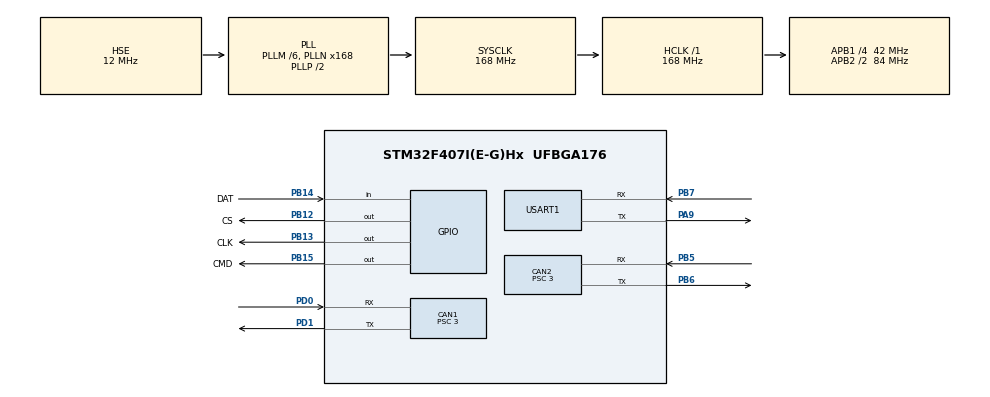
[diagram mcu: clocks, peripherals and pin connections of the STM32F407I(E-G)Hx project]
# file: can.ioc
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CAN1.BS1=CAN_BS1_10TQ
CAN1.BS2=CAN_BS2_3TQ
CAN1.CalculateTimeQuantum=71.42857142857143
CAN1.Prescaler=3
CAN2.BS1=CAN_BS1_10TQ
CAN2.BS2=CAN_BS2_3TQ
CAN2.CalculateTimeQuantum=71.42857142857143
CAN2.Prescaler=3
Dma.Request0=USART1_RX
Dma.Request1=USART1_TX
Dma.USART1_RX.0.Direction=DMA_PERIPH_TO_MEMORY
Dma.USART1_RX.0.FIFOMode=DMA_FIFOMODE_DISABLE
Dma.USART1_RX.0.Instance=DMA2_Stream2
Dma.USART1_RX.0.MemDataAlignment=DMA_MDATAALIGN_BYTE
Dma.USART1_RX.0.MemInc=DMA_MINC_ENABLE
Dma.USART1_RX.0.Mode=DMA_NORMAL
Dma.USART1_RX.0.PeriphDataAlignment=DMA_PDATAALIGN_BYTE
Dma.USART1_RX.0.PeriphInc=DMA_PINC_DISABLE
Dma.USART1_RX.0.Priority=DMA_PRIORITY_LOW
Dma.USART1_TX.1.Direction=DMA_MEMORY_TO_PERIPH
Dma.USART1_TX.1.FIFOMode=DMA_FIFOMODE_DISABLE
Dma.USART1_TX.1.Instance=DMA2_Stream7
Dma.USART1_TX.1.MemDataAlignment=DMA_MDATAALIGN_BYTE
Dma.USART1_TX.1.MemInc=DMA_MINC_ENABLE
Dma.USART1_TX.1.Mode=DMA_NORMAL
Dma.USART1_TX.1.PeriphDataAlignment=DMA_PDATAALIGN_BYTE
Dma.USART1_TX.1.PeriphInc=DMA_PINC_DISABLE
Dma.USART1_TX.1.Priority=DMA_PRIORITY_LOW
Mcu.Family=STM32F4
Mcu.Name=STM32F407I(E-G)Hx
Mcu.Package=UFBGA176
NVIC.CAN1_RX0_IRQn=true\:0\:0\:false\:false\:true\:true\:true\:true
NVIC.CAN2_RX0_IRQn=true\:0\:0\:false\:false\:true\:true\:true\:true
NVIC.DMA2_Stream2_IRQn=true\:0\:0\:false\:false\:true\:false\:true\:true
NVIC.DMA2_Stream7_IRQn=true\:0\:0\:false\:false\:true\:false\:true\:true
NVIC.PriorityGroup=NVIC_PRIORITYGROUP_4
NVIC.TIM2_IRQn=true\:0\:0\:false\:false\:true\:true\:true\:true
NVIC.USART1_IRQn=true\:0\:0\:true\:false\:true\:true\:true\:true
PA13.Mode=Serial_Wire
PA13.Signal=SYS_JTMS-SWDIO
PA14.Mode=Serial_Wire
PA14.Signal=SYS_JTCK-SWCLK
PA9.Mode=Asynchronous
PA9.Signal=USART1_TX
PB12.GPIO_Label=CS
PB12.Signal=GPIO_Output
PB13.GPIO_Label=CLK
PB13.Signal=GPIO_Output
PB14.GPIO_Label=DAT
PB14.GPIO_PuPd=GPIO_PULLDOWN
PB14.Signal=GPIO_Input
PB15.GPIO_Label=CMD
PB15.Signal=GPIO_Output
PB5.Mode=Slave
PB5.Signal=CAN2_RX
PB6.Mode=Slave
PB6.Signal=CAN2_TX
PB7.Mode=Asynchronous
PB7.Signal=USART1_RX
PD0.Mode=Master
PD0.Signal=CAN1_RX
PD1.Mode=Master
PD1.Signal=CAN1_TX
PH0-OSC_IN.Mode=HSE-External-Oscillator
PH0-OSC_IN.Signal=RCC_OSC_IN
PH1-OSC_OUT.Mode=HSE-External-Oscillator
PH1-OSC_OUT.Signal=RCC_OSC_OUT
ProjectManager.HeapSize=0x200
ProjectManager.StackSize=0x400
ProjectManager.TargetToolchain=MDK-ARM V5
RCC.48MHZClocksFreq_Value=84000000
RCC.AHBFreq_Value=168000000
RCC.APB1CLKDivider=RCC_HCLK_DIV4
RCC.APB1Freq_Value=42000000
RCC.APB1TimFreq_Value=84000000
RCC.APB2CLKDivider=RCC_HCLK_DIV2
RCC.APB2Freq_Value=84000000
RCC.APB2TimFreq_Value=168000000
RCC.CortexFreq_Value=168000000
RCC.HCLKFreq_Value=168000000
RCC.HSE_VALUE=12000000
RCC.HSI_VALUE=16000000
RCC.LSE_VALUE=32768
RCC.PLLM=6
RCC.PLLN=168
RCC.PLLSourceVirtual=RCC_PLLSOURCE_HSE
RCC.SYSCLKFreq_VALUE=168000000
RCC.SYSCLKSource=RCC_SYSCLKSOURCE_PLLCLK
RCC.VCOOutputFreq_Value=336000000
TIM2.AutoReloadPreload=TIM_AUTORELOAD_PRELOAD_ENABLE
TIM2.Period=999
TIM2.Prescaler=16799
USART1.VirtualMode=VM_ASYNC
VP_TIM2_VS_ClockSourceINT.Mode=Internal
board=custom

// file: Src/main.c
/* USER CODE BEGIN Header */
/**
******************************************************************************
* @file           : main.c
* @brief          : Main program body
******************************************************************************
* @attention
*
* <h2><center>&copy; Copyright (c) 2019 STMicroelectronics.
* All rights reserved.</center></h2>
*
* This software component is licensed by ST under BSD 3-Clause license,
* the "License"; You may not use this file except in compliance with the
* License. You may obtain a copy of the License at:
*                        opensource.org/licenses/BSD-3-Clause
*
******************************************************************************
*/
/* USER CODE END Header */

#include "main.h"
#include "can.h"
#include "dma.h"
#include "tim.h"
#include "usart.h"
#include "gpio.h"

/* USER CODE BEGIN Includes */
#include "bsp_can.h"
#include "CAN_receive.h"
#include "ps2.h"
#include "pid.h"
#include "usart.h"
#include "pid.h"

/* USER CODE END Includes */

/* USER CODE BEGIN PV */
PID_TypeDef motor_pid[4];
char tx_buffer[1000];
extern TIM_HandleTypeDef htim2;
extern UART_HandleTypeDef huart1;  // 确保你已经在别处定义了这个句柄
extern volatile uint8_t uart_tx_done;
extern void UART1_Send_DMA(uint8_t *buf, uint16_t len);

/* USER CODE END PV */

void SystemClock_Config(void);
/* USER CODE BEGIN PFP */
void UART1_Send_DMA(uint8_t *buf, uint16_t len);
void UART1_Send_IT(uint8_t *buf, uint16_t len);
/* USER CODE END PFP */

int main(void)
{

  /* MCU Configuration--------------------------------------------------------*/

  /* Reset of all peripherals, Initializes the Flash interface and the Systick. */
  HAL_Init();

  /* USER CODE BEGIN Init */

//float wheel_speed_FR;
//float wheel_speed_FL;
//float wheel_speed_BL;
//float wheel_speed_BR;
  /* USER CODE END Init */

  /* Configure the system clock */
  SystemClock_Config();

  /* Initialize all configured peripherals */
  MX_GPIO_Init();
  MX_DMA_Init();
  MX_CAN1_Init();
  MX_CAN2_Init();
  MX_USART1_UART_Init();
  MX_TIM2_Init();
  /* USER CODE BEGIN 2 */
HAL_TIM_Base_Start_IT(&htim2);
can_filter_init();

  for(int i=0; i<4; i++)
{

pid_init(&motor_pid[i]);
motor_pid[i].f_param_init(&motor_pid[i],PID_Speed,8000,4000,10,0,2000,500,2.5,0.1,0);

}

  /* USER CODE END 2 */

  /* Infinite loop */
while (1)
{

    /* USER CODE BEGIN 3 */

    for (int i = 0; i < 4; i++)
    {
        motor_pid[i].target = 1000;
        const motor_measure_t *motor_data = get_chassis_motor_measure_point(i);
        if (!motor_data) continue;

        motor_pid[i].f_cal_pid(&motor_pid[i], motor_data->speed_rpm);

//        int len = snprintf(
//            tx_buffer, sizeof(tx_buffer),
//            "Motor %d - Speed: %d, Position: %d, Current: %d\r\n",
//            i, motor_data->speed_rpm, motor_data->ecd, motor_data->given_current
//        );
//UART1_Send_IT((uint8_t *)tx_buffer, len);
//        // ? 使用我们封装的 DMA 发送函数
//        UART1_Send_DMA((uint8_t *)tx_buffer, len);
    }

    CAN_cmd_chassis(motor_pid[0].output, motor_pid[1].output,
                    motor_pid[2].output, motor_pid[3].output);

    // 打印所有电机的速度到串口，方便串口助手或VOFA+调试
    char buf[100];
    for (int i = 0; i < 4; i++) {
        int len = snprintf(buf, sizeof(buf), "M%d:%d\r\n", i, get_chassis_motor_measure_point(i)->speed_rpm);
        HAL_UART_Transmit(&huart1, (uint8_t *)buf, len, 100);
    }
    HAL_Delay(500); // 慢一点方便观察
//2025/7/16 第一次分支 0

//CAN_cmd_chassis(400,400,400,400);
//for(int i=0; i<4; i++)
//{
//	motor_pid[i].target = 1000;
//	const motor_measure_t *motor_data = get_chassis_motor_measure_point(i);
//	motor_pid[i].f_cal_pid(&motor_pid[i],motor_data->speed_rpm);    //根据设定值进行PID计算。

//	printf("FL=%d FR=%d BL=%d BR=%d\r\n", (int)wheel_speed_FL, (int)wheel_speed_FR, (int)wheel_speed_BL, (int)wheel_speed_BR);
//
//	int len =snprintf
//		(
//			tx_buffer, sizeof(tx_buffer),
//			"Motor %d - Speed: %d, Position: %d, Current: %d\r\n",
//			i, motor_data->speed_rpm, motor_data->ecd, motor_data->given_current
//		);
//
//}

//CAN_cmd_chassis(motor_pid[0].output,motor_pid[1].output,motor_pid[2].output,motor_pid[3].output);

//HAL_Delay(10);      //PID控制频率100HZ

//		HAL_Delay(20);

}
  /* USER CODE END 3 */
}

void SystemClock_Config(void)
{
  RCC_OscInitTypeDef RCC_OscInitStruct = {0};
  RCC_ClkInitTypeDef RCC_ClkInitStruct = {0};

  /** Configure the main internal regulator output voltage
  */
  __HAL_RCC_PWR_CLK_ENABLE();
  __HAL_PWR_VOLTAGESCALING_CONFIG(PWR_REGULATOR_VOLTAGE_SCALE1);
  /** Initializes the CPU, AHB and APB busses clocks
  */
  RCC_OscInitStruct.OscillatorType = RCC_OSCILLATORTYPE_HSE;
  RCC_OscInitStruct.HSEState = RCC_HSE_ON;
  RCC_OscInitStruct.PLL.PLLState = RCC_PLL_ON;
  RCC_OscInitStruct.PLL.PLLSource = RCC_PLLSOURCE_HSE;
  RCC_OscInitStruct.PLL.PLLM = 6;
  RCC_OscInitStruct.PLL.PLLN = 168;
  RCC_OscInitStruct.PLL.PLLP = RCC_PLLP_DIV2;
  RCC_OscInitStruct.PLL.PLLQ = 4;
  if (HAL_RCC_OscConfig(&RCC_OscInitStruct) != HAL_OK)
  {
    Error_Handler();
  }
  /** Initializes the CPU, AHB and APB busses clocks
  */
  RCC_ClkInitStruct.ClockType = RCC_CLOCKTYPE_HCLK|RCC_CLOCKTYPE_SYSCLK
                              |RCC_CLOCKTYPE_PCLK1|RCC_CLOCKTYPE_PCLK2;
  RCC_ClkInitStruct.SYSCLKSource = RCC_SYSCLKSOURCE_PLLCLK;
  RCC_ClkInitStruct.AHBCLKDivider = RCC_SYSCLK_DIV1;
  RCC_ClkInitStruct.APB1CLKDivider = RCC_HCLK_DIV4;
  RCC_ClkInitStruct.APB2CLKDivider = RCC_HCLK_DIV2;

  if (HAL_RCC_ClockConfig(&RCC_ClkInitStruct, FLASH_LATENCY_5) != HAL_OK)
  {
    Error_Handler();
  }
}

/* USER CODE BEGIN 4 */
//void HAL_TIM_PeriodElapsedCallback(TIM_HandleTypeDef *htim)
//{

//if (htim == (&htim2))
//{
//			for(int i=0; i<4; i++)
//{
//  motor_pid[i].target = 1000;
//		const motor_measure_t *motor_data = get_chassis_motor_measure_point(i);
//			motor_pid[i].f_cal_pid(&motor_pid[i],motor_data->speed_rpm);    //根据设定值进行PID计算。
//}
//CAN_cmd_chassis(motor_pid[0].output,motor_pid[1].output,motor_pid[2].output,motor_pid[3].output);
//}
//}

// ? DMA 发送完成回调
//void USART1_IRQHandler(void)
//{
//    /* TXE 空中断 */
//    if (__HAL_UART_GET_FLAG(&huart1, UART_FLAG_TXE))
//    {
//        if (tx_buf_len > 0)
//        {
//            USART1->DR = *tx_buf_ptr++;   // 发送一个字节
//            tx_buf_len--;
//        }
//        else
//        {
//            /* 发完了，关闭 TXE 中断，防止一直进中断 */
//            __HAL_UART_DISABLE_IT(&huart1, UART_IT_TXE);
//            tx_busy = 0;
//        }
//    }

//    /* 如有 RX 中断，可在此处理 */
//}

/* USER CODE END 4 */

void Error_Handler(void)
{
}

/************************ (C) COPYRIGHT STMicroelectronics *****END OF FILE****/
